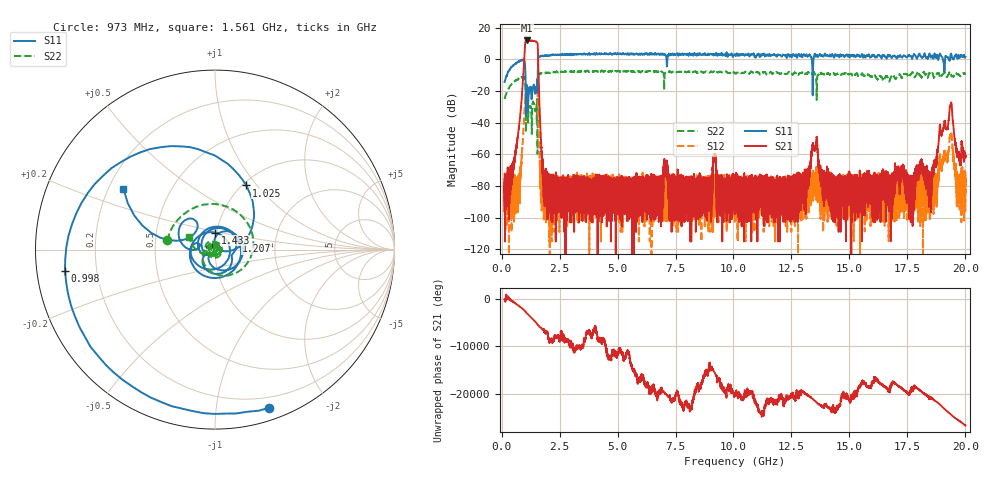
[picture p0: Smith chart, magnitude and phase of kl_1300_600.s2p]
!Created with skrf (http://scikit-rf.org).
# GHz S RI R 50.0
!freq ReS11 ImS11 ReS21 ImS21 ReS12 ImS12 ReS22 ImS22
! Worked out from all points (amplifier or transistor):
!   20013 points, 130 MHz to 20 GHz, reference 50 ohm
!   highest |S21| = 11.9 dB at 1.09 GHz (marker M1)
!   |S21| within 3 dB of that: 1.011 GHz to 1.558 GHz (547.3 MHz wide, 42.6 % of centre)
!   unconditionally stable (mu >= 1): start of sweep to 943.8 MHz; 956.7 MHz to 1.567 GHz; 19.02967 GHz to 19.11931 GHz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
!   at 3.465 GHz: K = -66140617.09, MSG = 2.9 dB, |S12| = -84.5 dB
!   at 10.14 GHz: K = -52319273.01, MSG = 2.8 dB, |S12| = -82.4 dB
!   at 20 GHz: K = -3533378.87, MSG = 12.0 dB, |S12| = -84.8 dB
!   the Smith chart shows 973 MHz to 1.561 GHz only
!   S11 on the Smith chart (normalised r, x): 973 MHz: 0.11, -1.39; 998 MHz: 0.08, -0.07; 1.025 GHz: 1.04, +0.88; 1.207 GHz: 1.26, +0.12; 1.433 GHz: 0.99, +0.19; 1.561 GHz: 0.26, +0.28
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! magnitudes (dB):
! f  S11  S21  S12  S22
! 130 MHz  -14.3  -72.3  -78.7  -25.1
! 724 MHz  -1.8  -46.4  -84.4  -12.5
! 973 MHz  -0.6  -1.2  -36.5  -11.3
! 998 MHz  -1.5  5.7  -29.7  -12.5
! 1.025 GHz  -8.0  10.9  -24.1  -19.0
! 1.09 GHz  -16.2  11.9  -22.5  -31.0
! 1.207 GHz  -17.9  11.8  -21.4  -29.8
! 1.433 GHz  -20.5  11.5  -20.3  -31.4
! 1.561 GHz  -4.2  8.1  -22.9  -16.0
! 1.714 GHz  2.1  -55.9  -78.5  -8.7
! 1.884 GHz  2.3  -79.6  -77.5  -8.8
! 3.442 GHz  2.9  -89.5  -88.3  -7.4
! 6.754 GHz  3.4  -91.3  -85.0  -7.8
! 10.06 GHz  3.2  -86.5  -75.8  -8.7
! 12.87 GHz  2.1  -77.7  -85.9  -8.6
! 13.38 GHz  -0.3  -57.5  -77.2  -9.0
! 13.93 GHz  3.4  -79.0  -80.9  -9.1
! 16.69 GHz  1.8  -86.9  -76.4  -13.3
! 18.46 GHz  3.5  -81.0  -96.8  -8.6
! 19.36 GHz  3.1  -29.0  -48.0  -8.5
! 19.71 GHz  2.8  -58.8  -80.4  -9.5
! 20 GHz  1.5  -60.8  -84.8  -9.2
